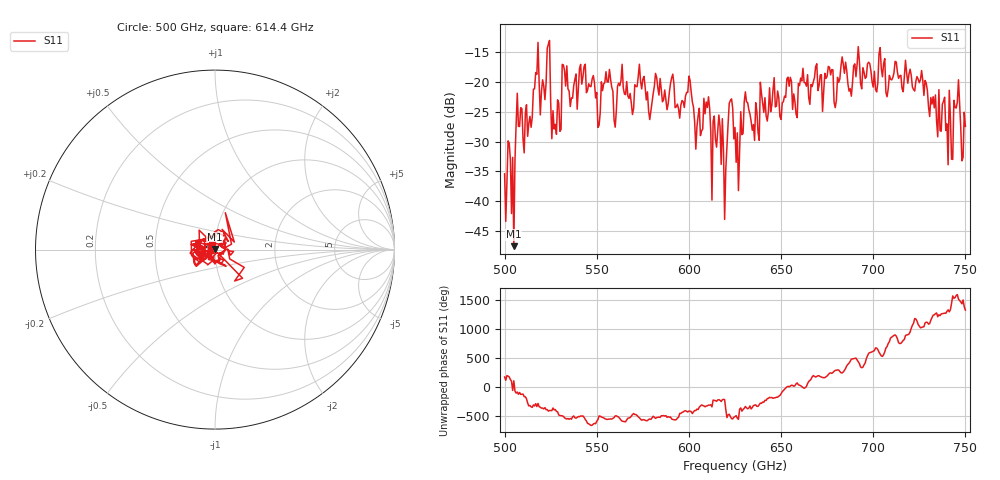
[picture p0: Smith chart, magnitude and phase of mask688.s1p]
!Created with skrf (http://scikit-rf.org).
# GHz S MA R 50.0
!freq magS11 angS11
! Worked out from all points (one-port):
!   401 points, 500 GHz to 750 GHz, reference 50 ohm
!   lowest |S11| = -47.5 dB at 505 GHz (marker M1), VSWR 1.01, Z = 49.9 + j0.408 ohm
!   |S11| at or under -10 dB: start of sweep to end of sweep
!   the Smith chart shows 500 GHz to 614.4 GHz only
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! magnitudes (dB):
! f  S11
! 500 GHz  -35.4
! 505 GHz  -47.5
! 507.5 GHz  -27.4
! 513.8 GHz  -25.8
! 516.9 GHz  -18.5
! 520.6 GHz  -19.7
! 523.8 GHz  -13.7
! 526.9 GHz  -27.9
! 531.2 GHz  -17.1
! 542.5 GHz  -19.1
! 550.6 GHz  -27.6
! 562.5 GHz  -20.7
! 593.8 GHz  -23.7
! 609.4 GHz  -23.4
! 618.8 GHz  -31.4
! 622.5 GHz  -23.1
! 625 GHz  -27.6
! 628.1 GHz  -25.0
! 631.2 GHz  -23.4
! 636.9 GHz  -25.0
! 656.2 GHz  -24.6
! 676.9 GHz  -18.9
! 680 GHz  -23.1
! 683.8 GHz  -17.1
! 687.5 GHz  -21.2
! 691.2 GHz  -17.1
! 718.8 GHz  -20.2
! 750 GHz  -27.5
